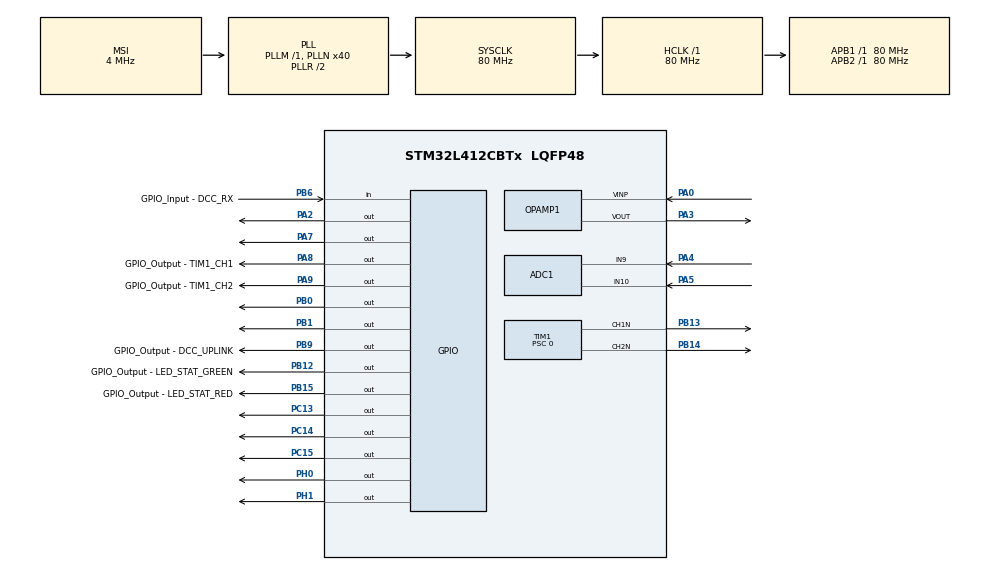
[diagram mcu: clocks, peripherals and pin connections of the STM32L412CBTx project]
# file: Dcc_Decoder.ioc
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ADC1.Channel-4\#ChannelRegularConversion=ADC_CHANNEL_9
ADC1.Channel-5\#ChannelRegularConversion=ADC_CHANNEL_10
ADC1.Channel-6\#ChannelRegularConversion=ADC_CHANNEL_TEMPSENSOR
ADC1.DMAContinuousRequests=DISABLE
ADC1.EOCSelection=ADC_EOC_SEQ_CONV
ADC1.EnableAnalogWatchDog1=false
ADC1.EnableInjectedConversion=DISABLE
ADC1.EnableRegularConversion=ENABLE
ADC1.ExternalTrigConv=ADC_EXTERNALTRIG_T1_CC3
ADC1.ExternalTrigConvEdge=ADC_EXTERNALTRIGCONVEDGE_FALLING
ADC1.NbrOfConversion=3
ADC1.NbrOfConversionFlag=1
ADC1.OffsetNumber-4\#ChannelRegularConversion=ADC_OFFSET_NONE
ADC1.OffsetNumber-5\#ChannelRegularConversion=ADC_OFFSET_NONE
ADC1.OffsetNumber-6\#ChannelRegularConversion=ADC_OFFSET_NONE
ADC1.Overrun=ADC_OVR_DATA_OVERWRITTEN
ADC1.OversamplingMode=DISABLE
ADC1.Rank-4\#ChannelRegularConversion=1
ADC1.Rank-5\#ChannelRegularConversion=2
ADC1.Rank-6\#ChannelRegularConversion=3
ADC1.SamplingTime-4\#ChannelRegularConversion=ADC_SAMPLETIME_24CYCLES_5
ADC1.SamplingTime-5\#ChannelRegularConversion=ADC_SAMPLETIME_24CYCLES_5
ADC1.SamplingTime-6\#ChannelRegularConversion=ADC_SAMPLETIME_24CYCLES_5
ADC1.master=1
Dma.ADC1.0.Direction=DMA_PERIPH_TO_MEMORY
Dma.ADC1.0.Instance=DMA2_Channel3
Dma.ADC1.0.MemDataAlignment=DMA_MDATAALIGN_HALFWORD
Dma.ADC1.0.MemInc=DMA_MINC_ENABLE
Dma.ADC1.0.Mode=DMA_CIRCULAR
Dma.ADC1.0.PeriphDataAlignment=DMA_PDATAALIGN_HALFWORD
Dma.ADC1.0.PeriphInc=DMA_PINC_DISABLE
Dma.ADC1.0.Priority=DMA_PRIORITY_HIGH
Dma.Request0=ADC1
Dma.Request1=TIM15_CH1/UP/TRIG/COM
Dma.TIM15_CH1/UP/TRIG/COM.1.Direction=DMA_PERIPH_TO_MEMORY
Dma.TIM15_CH1/UP/TRIG/COM.1.Instance=DMA1_Channel5
Dma.TIM15_CH1/UP/TRIG/COM.1.MemDataAlignment=DMA_MDATAALIGN_BYTE
Dma.TIM15_CH1/UP/TRIG/COM.1.MemInc=DMA_MINC_ENABLE
Dma.TIM15_CH1/UP/TRIG/COM.1.Mode=DMA_CIRCULAR
Dma.TIM15_CH1/UP/TRIG/COM.1.PeriphDataAlignment=DMA_PDATAALIGN_BYTE
Dma.TIM15_CH1/UP/TRIG/COM.1.PeriphInc=DMA_PINC_DISABLE
Dma.TIM15_CH1/UP/TRIG/COM.1.Priority=DMA_PRIORITY_LOW
Mcu.Family=STM32L4
Mcu.Name=STM32L412CBTx
Mcu.Package=LQFP48
NVIC.DMA1_Channel5_IRQn=true\:2\:0\:true\:false\:true\:false\:true\:true
NVIC.DMA2_Channel3_IRQn=true\:1\:0\:true\:false\:true\:false\:true\:true
NVIC.PriorityGroup=NVIC_PRIORITYGROUP_4
NVIC.TIM1_UP_TIM16_IRQn=true\:3\:0\:true\:false\:true\:true\:true\:true
OPAMP1.PgaGain=OPAMP_PGA_GAIN_4
OPAMP1.PowerSupplyRange=OPAMP_POWERSUPPLY_HIGH
OPAMP1.SelfCalibration=Enable
OPAMP1.UserTrimming=OPAMP_TRIMMING_USER
PA0.Mode=PGA Not Connected
PA0.Signal=OPAMP1_VINP
PA13\ (JTMS/SWDIO).Mode=JTAG_5_pins
PA13\ (JTMS/SWDIO).Signal=SYS_JTMS-SWDIO
PA14\ (JTCK/SWCLK).Mode=JTAG_5_pins
PA14\ (JTCK/SWCLK).Signal=SYS_JTCK-SWCLK
PA15\ (JTDI).Mode=JTAG_5_pins
PA15\ (JTDI).Signal=SYS_JTDI
PA2.Signal=GPIO_Output
PA3.Mode=PGA Not Connected
PA3.Signal=OPAMP1_VOUT
PA4.Signal=ADCx_IN9
PA5.Signal=ADCx_IN10
PA7.Signal=GPIO_Output
PA8.GPIO_Label=GPIO_Output - TIM1_CH1
PA8.Signal=GPIO_Output
PA9.GPIO_Label=GPIO_Output - TIM1_CH2
PA9.Signal=GPIO_Output
PB0.Signal=GPIO_Output
PB1.Signal=GPIO_Output
PB12.GPIO_Label=GPIO_Output - LED_STAT_GREEN
PB12.Signal=GPIO_Output
PB13.Mode=PWM Generation1 CH1N
PB13.Signal=TIM1_CH1N
PB14.Mode=PWM Generation2 CH2N
PB14.Signal=TIM1_CH2N
PB15.GPIO_Label=GPIO_Output - LED_STAT_RED
PB15.Signal=GPIO_Output
PB3\ (JTDO/TRACESWO).Mode=JTAG_5_pins
PB3\ (JTDO/TRACESWO).Signal=SYS_JTDO-SWO
PB4\ (NJTRST).Mode=JTAG_5_pins
PB4\ (NJTRST).Signal=SYS_JTRST
PB6.GPIO_Label=GPIO_Input - DCC_RX
PB6.GPIO_PuPd=GPIO_PULLUP
PB6.Signal=GPIO_Input
PB9.GPIO_Label=GPIO_Output - DCC_UPLINK
PB9.Signal=GPIO_Output
PC13.Signal=GPIO_Output
PC14-OSC32_IN\ (PC14).Signal=GPIO_Output
PC15-OSC32_OUT\ (PC15).Signal=GPIO_Output
PH0-OSC_IN\ (PH0).Signal=GPIO_Output
PH1-OSC_OUT\ (PH1).Signal=GPIO_Output
ProjectManager.HeapSize=0x200
ProjectManager.StackSize=0x400
ProjectManager.TargetToolchain=STM32CubeIDE
RCC.ADCFreq_Value=80000000
RCC.AHBFreq_Value=80000000
RCC.APB1Freq_Value=80000000
RCC.APB1TimFreq_Value=80000000
RCC.APB2Freq_Value=80000000
RCC.APB2TimFreq_Value=80000000
RCC.CortexFreq_Value=80000000
RCC.HCLKFreq_Value=80000000
RCC.HSE_VALUE=8000000
RCC.HSI48_VALUE=48000000
RCC.HSI_VALUE=16000000
RCC.LSE_VALUE=32768
RCC.MSI_VALUE=4000000
RCC.PLLN=40
RCC.SYSCLKFreq_VALUE=80000000
RCC.SYSCLKSource=RCC_SYSCLKSOURCE_PLLCLK
RCC.USBFreq_Value=4000000
RCC.VCOOutputFreq_Value=160000000
SH.ADCx_IN10.0=ADC1_IN10,IN10-Single-Ended
SH.ADCx_IN9.0=ADC1_IN9,IN9-Single-Ended
TIM1.AutoReloadPreload=TIM_AUTORELOAD_PRELOAD_ENABLE
TIM1.BreakState=TIM_BREAK_DISABLE
TIM1.Channel-PWM\ Generation1\ CH1N=TIM_CHANNEL_1
TIM1.Channel-PWM\ Generation2\ CH2N=TIM_CHANNEL_2
TIM1.Channel-PWM\ Generation3\ No\ Output=TIM_CHANNEL_3
TIM1.ClockDivision=TIM_CLOCKDIVISION_DIV2
TIM1.CounterMode=TIM_COUNTERMODE_CENTERALIGNED1
TIM1.Period=1000
TIM1.Prescaler=0
TIM1.TIM_MasterOutputTrigger=TIM_TRGO_RESET
TIM1.TIM_MasterOutputTrigger2=TIM_TRGO2_RESET
TIM1.TIM_MasterSlaveMode=TIM_MASTERSLAVEMODE_DISABLE
TIM15.AutoReloadPreload=TIM_AUTORELOAD_PRELOAD_ENABLE
TIM15.Period=100
TIM15.Prescaler=7
TIM15.TIM_MasterOutputTrigger=TIM_TRGO_OC1
TIM16.Period=7840
TIM16.Prescaler=79
TIM2.AutoReloadPreload=TIM_AUTORELOAD_PRELOAD_ENABLE
TIM2.Period=1000
TIM2.Prescaler=79
TIM2.TIM_MasterOutputTrigger=TIM_TRGO_RESET
VP_ADC1_OPAMP1_OUT.Mode=IN8-OPAMP1-Single-Ended
VP_ADC1_TempSens_Input.Mode=IN-TempSens
VP_RTC_VS_RTC_Activate.Mode=RTC_Enabled
VP_TIM15_VS_ClockSourceINT.Mode=Internal
VP_TIM16_VS_ClockSourceINT.Mode=Enable_Timer
VP_TIM1_VS_ClockSourceINT.Mode=Internal
VP_TIM1_VS_no_output3.Mode=PWM Generation3 No Output
VP_TIM2_VS_ClockSourceINT.Mode=Internal
board=custom

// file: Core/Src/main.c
/* USER CODE BEGIN Header */
/**
  ******************************************************************************
  * @file           : main.c
  * @brief          : Main program body
  ******************************************************************************
  * @attention
  *
  * Copyright (c) 2024 STMicroelectronics.
  * All rights reserved.
  *
  * This software is licensed under terms that can be found in the LICENSE file
  * in the root directory of this software component.
  * If no LICENSE file comes with this software, it is provided AS-IS.
  *
  ******************************************************************************
  */
/* USER CODE END Header */
#include "main.h"

/* USER CODE BEGIN Includes */
#include "motor.h"

#include <dcc_physical_layer.h>
#include <dcc_protocol_rx.h>
#include "dcc_signal.h"
#include "i_adc.h"
#include "i_dma.h"
#include "i_timer.h"
#include "m_memory.h"

extern struct MEM_CONFIG_STRUCT Mem;
/* USER CODE END Includes */

ADC_HandleTypeDef hadc1;
DMA_HandleTypeDef hdma_adc1;

OPAMP_HandleTypeDef hopamp1;

RTC_HandleTypeDef hrtc;

TIM_HandleTypeDef htim1;
TIM_HandleTypeDef htim2;
TIM_HandleTypeDef htim15;
TIM_HandleTypeDef htim16;
DMA_HandleTypeDef hdma_tim15_ch1_up_trig_com;

void SystemClock_Config(void);
static void MX_GPIO_Init(void);
static void MX_DMA_Init(void);
static void MX_TIM2_Init(void);
static void MX_TIM1_Init(void);
static void MX_ADC1_Init(void);
static void MX_TIM15_Init(void);
static void MX_OPAMP1_Init(void);
static void MX_RTC_Init(void);
static void MX_TIM16_Init(void);
/* USER CODE BEGIN PFP */

static void Disable_Bootloader_If_Enabled(void);

/* USER CODE END PFP */

int main(void)
{

  /* USER CODE BEGIN 1 */

	// TEST_PIN1 is enable at the beginning of the main.
	GPIO_CONFIG_OUTPUT(TEST_PIN1);
	GPIO_WRITE(TEST_PIN1, TRUE);

	Disable_Bootloader_If_Enabled();

  /* USER CODE END 1 */

  /* MCU Configuration--------------------------------------------------------*/

  /* Reset of all peripherals, Initializes the Flash interface and the Systick. */
  HAL_Init();

  /* Configure the system clock */
  SystemClock_Config();

  /* Initialize all configured peripherals */
  MX_GPIO_Init();
  MX_DMA_Init();
  MX_TIM2_Init();
  MX_TIM1_Init();
  MX_ADC1_Init();
  MX_TIM15_Init();
  MX_OPAMP1_Init();
  MX_RTC_Init();
  MX_TIM16_Init();
  /* USER CODE BEGIN 2 */

#if TEST_INRUSH_CURRENT_HIGH == 1
	GPIO_WRITE(PIN_CURRENT_EN, TRUE);
#endif

  // Get memory configuration
  mem_init();

  // GPIO re-init for HW backward compatibility (see version.h)
  gpio_reinit_for_hw_compatibility();

  if(mem_is_backup_valid() == TRUE)
  {
  	// ----- Backup register are valid -----
  	debug_set_led_status_red(LED_BOOT_EVENT, 200);
  	dcc_init(TRUE);
  	mot_init(TRUE);
  }
  else
  {
  	// ----- Backup register are invalid -----
  	debug_set_led_status_red(LED_BOOT_EVENT, 2000);
  	dcc_init(FALSE);
  	mot_init(FALSE);
  }

  signal_init();

  dma_init();
  adc_init();
  tim_init();

  /* USER CODE END 2 */

  /* Infinite loop */
  /* USER CODE BEGIN WHILE */

  while (1)
  {
  	// TEST_PIN1 is toggled each loop.
  	GPIO_TOGGLE(TEST_PIN1);

  	// Update debug Leds state (Green for DCC and red for errors)
  	debug_leds_update();

  	// Decode the transmitted bit into messages
		dcc_rx_update();

		// Update lights signal (Green, yellow, red)
		dcc_signal_update();

		// Decode and execute the received messages
		dcc_check_for_new_messages();

		// Update motor target speed (slope management) @200ms
		mot_speed_update();

		// Commit configuration one second after the last accepted memory update
		mem_update();

		// Enter sleep mode until next interrupt
		HAL_PWR_EnterSLEEPMode(PWR_MAINREGULATOR_ON, PWR_SLEEPENTRY_WFI);

    /* USER CODE END WHILE */

  }
}

void SystemClock_Config(void)
{
  RCC_OscInitTypeDef RCC_OscInitStruct = {0};
  RCC_ClkInitTypeDef RCC_ClkInitStruct = {0};

  /** Configure the main internal regulator output voltage
  */
  if (HAL_PWREx_ControlVoltageScaling(PWR_REGULATOR_VOLTAGE_SCALE1) != HAL_OK)
  {
    Error_Handler();
  }

  /** Initializes the RCC Oscillators according to the specified parameters
  * in the RCC_OscInitTypeDef structure.
  */
  RCC_OscInitStruct.OscillatorType = RCC_OSCILLATORTYPE_LSI|RCC_OSCILLATORTYPE_MSI;
  RCC_OscInitStruct.LSIState = RCC_LSI_ON;
  RCC_OscInitStruct.MSIState = RCC_MSI_ON;
  RCC_OscInitStruct.MSICalibrationValue = 0;
  RCC_OscInitStruct.MSIClockRange = RCC_MSIRANGE_6;
  RCC_OscInitStruct.PLL.PLLState = RCC_PLL_ON;
  RCC_OscInitStruct.PLL.PLLSource = RCC_PLLSOURCE_MSI;
  RCC_OscInitStruct.PLL.PLLM = 1;
  RCC_OscInitStruct.PLL.PLLN = 40;
  RCC_OscInitStruct.PLL.PLLQ = RCC_PLLQ_DIV2;
  RCC_OscInitStruct.PLL.PLLR = RCC_PLLR_DIV2;
  if (HAL_RCC_OscConfig(&RCC_OscInitStruct) != HAL_OK)
  {
    Error_Handler();
  }

  /** Initializes the CPU, AHB and APB buses clocks
  */
  RCC_ClkInitStruct.ClockType = RCC_CLOCKTYPE_HCLK|RCC_CLOCKTYPE_SYSCLK
                              |RCC_CLOCKTYPE_PCLK1|RCC_CLOCKTYPE_PCLK2;
  RCC_ClkInitStruct.SYSCLKSource = RCC_SYSCLKSOURCE_PLLCLK;
  RCC_ClkInitStruct.AHBCLKDivider = RCC_SYSCLK_DIV1;
  RCC_ClkInitStruct.APB1CLKDivider = RCC_HCLK_DIV1;
  RCC_ClkInitStruct.APB2CLKDivider = RCC_HCLK_DIV1;

  if (HAL_RCC_ClockConfig(&RCC_ClkInitStruct, FLASH_LATENCY_4) != HAL_OK)
  {
    Error_Handler();
  }
}

static void MX_ADC1_Init(void)
{

  ADC_MultiModeTypeDef multimode = {0};
  ADC_ChannelConfTypeDef sConfig = {0};

  /** Common config
  */
  hadc1.Instance = ADC1;
  hadc1.Init.ClockPrescaler = ADC_CLOCK_ASYNC_DIV1;
  hadc1.Init.Resolution = ADC_RESOLUTION_12B;
  hadc1.Init.DataAlign = ADC_DATAALIGN_RIGHT;
  hadc1.Init.ScanConvMode = ADC_SCAN_ENABLE;
  hadc1.Init.EOCSelection = ADC_EOC_SEQ_CONV;
  hadc1.Init.LowPowerAutoWait = DISABLE;
  hadc1.Init.ContinuousConvMode = DISABLE;
  hadc1.Init.NbrOfConversion = 3;
  hadc1.Init.DiscontinuousConvMode = DISABLE;
  hadc1.Init.ExternalTrigConv = ADC_EXTERNALTRIG_T1_CC3;
  hadc1.Init.ExternalTrigConvEdge = ADC_EXTERNALTRIGCONVEDGE_FALLING;
  hadc1.Init.DMAContinuousRequests = DISABLE;
  hadc1.Init.Overrun = ADC_OVR_DATA_OVERWRITTEN;
  hadc1.Init.OversamplingMode = DISABLE;
  if (HAL_ADC_Init(&hadc1) != HAL_OK)
  {
    Error_Handler();
  }

  /** Configure the ADC multi-mode
  */
  multimode.Mode = ADC_MODE_INDEPENDENT;
  if (HAL_ADCEx_MultiModeConfigChannel(&hadc1, &multimode) != HAL_OK)
  {
    Error_Handler();
  }

  /** Configure Regular Channel
  */
  sConfig.Channel = ADC_CHANNEL_9;
  sConfig.Rank = ADC_REGULAR_RANK_1;
  sConfig.SamplingTime = ADC_SAMPLETIME_24CYCLES_5;
  sConfig.SingleDiff = ADC_SINGLE_ENDED;
  sConfig.OffsetNumber = ADC_OFFSET_NONE;
  sConfig.Offset = 0;
  if (HAL_ADC_ConfigChannel(&hadc1, &sConfig) != HAL_OK)
  {
    Error_Handler();
  }

  /** Configure Regular Channel
  */
  sConfig.Channel = ADC_CHANNEL_10;
  sConfig.Rank = ADC_REGULAR_RANK_2;
  if (HAL_ADC_ConfigChannel(&hadc1, &sConfig) != HAL_OK)
  {
    Error_Handler();
  }

  /** Configure Regular Channel
  */
  sConfig.Channel = ADC_CHANNEL_TEMPSENSOR;
  sConfig.Rank = ADC_REGULAR_RANK_3;
  if (HAL_ADC_ConfigChannel(&hadc1, &sConfig) != HAL_OK)
  {
    Error_Handler();
  }

}

static void MX_OPAMP1_Init(void)
{

  hopamp1.Instance = OPAMP1;
  hopamp1.Init.PowerSupplyRange = OPAMP_POWERSUPPLY_HIGH;
  hopamp1.Init.Mode = OPAMP_PGA_MODE;
  hopamp1.Init.NonInvertingInput = OPAMP_NONINVERTINGINPUT_IO0;
  hopamp1.Init.InvertingInput = OPAMP_INVERTINGINPUT_CONNECT_NO;
  hopamp1.Init.PgaGain = OPAMP_PGA_GAIN_4;
  hopamp1.Init.PowerMode = OPAMP_POWERMODE_NORMALPOWER;
  hopamp1.Init.UserTrimming = OPAMP_TRIMMING_USER;
  if (HAL_OPAMP_Init(&hopamp1) != HAL_OK)
  {
    Error_Handler();
  }
  if (HAL_OPAMP_SelfCalibrate(&hopamp1) != HAL_OK)
  {
    Error_Handler();
  }

}

static void MX_RTC_Init(void)
{

  /** Initialize RTC Only
  */
  hrtc.Instance = RTC;
  hrtc.Init.HourFormat = RTC_HOURFORMAT_24;
  hrtc.Init.AsynchPrediv = 127;
  hrtc.Init.SynchPrediv = 255;
  hrtc.Init.OutPut = RTC_OUTPUT_DISABLE;
  hrtc.Init.OutPutRemap = RTC_OUTPUT_REMAP_NONE;
  hrtc.Init.OutPutPolarity = RTC_OUTPUT_POLARITY_HIGH;
  hrtc.Init.OutPutType = RTC_OUTPUT_TYPE_OPENDRAIN;
  hrtc.Init.OutPutPullUp = RTC_OUTPUT_PULLUP_NONE;
  if (HAL_RTC_Init(&hrtc) != HAL_OK)
  {
    Error_Handler();
  }

}

static void MX_TIM1_Init(void)
{

  TIM_ClockConfigTypeDef sClockSourceConfig = {0};
  TIM_MasterConfigTypeDef sMasterConfig = {0};
  TIM_OC_InitTypeDef sConfigOC = {0};
  TIM_BreakDeadTimeConfigTypeDef sBreakDeadTimeConfig = {0};

  htim1.Instance = TIM1;
  htim1.Init.Prescaler = 0;
  htim1.Init.CounterMode = TIM_COUNTERMODE_CENTERALIGNED1;
  htim1.Init.Period = 1000;
  htim1.Init.ClockDivision = TIM_CLOCKDIVISION_DIV2;
  htim1.Init.RepetitionCounter = 0;
  htim1.Init.AutoReloadPreload = TIM_AUTORELOAD_PRELOAD_ENABLE;
  if (HAL_TIM_Base_Init(&htim1) != HAL_OK)
  {
    Error_Handler();
  }
  sClockSourceConfig.ClockSource = TIM_CLOCKSOURCE_INTERNAL;
  if (HAL_TIM_ConfigClockSource(&htim1, &sClockSourceConfig) != HAL_OK)
  {
    Error_Handler();
  }
  if (HAL_TIM_PWM_Init(&htim1) != HAL_OK)
  {
    Error_Handler();
  }
  sMasterConfig.MasterOutputTrigger = TIM_TRGO_RESET;
  sMasterConfig.MasterOutputTrigger2 = TIM_TRGO2_RESET;
  sMasterConfig.MasterSlaveMode = TIM_MASTERSLAVEMODE_DISABLE;
  if (HAL_TIMEx_MasterConfigSynchronization(&htim1, &sMasterConfig) != HAL_OK)
  {
    Error_Handler();
  }
  sConfigOC.OCMode = TIM_OCMODE_PWM1;
  sConfigOC.Pulse = 0;
  sConfigOC.OCPolarity = TIM_OCPOLARITY_HIGH;
  sConfigOC.OCNPolarity = TIM_OCNPOLARITY_HIGH;
  sConfigOC.OCFastMode = TIM_OCFAST_DISABLE;
  sConfigOC.OCIdleState = TIM_OCIDLESTATE_RESET;
  sConfigOC.OCNIdleState = TIM_OCNIDLESTATE_RESET;
  if (HAL_TIM_PWM_ConfigChannel(&htim1, &sConfigOC, TIM_CHANNEL_1) != HAL_OK)
  {
    Error_Handler();
  }
  if (HAL_TIM_PWM_ConfigChannel(&htim1, &sConfigOC, TIM_CHANNEL_2) != HAL_OK)
  {
    Error_Handler();
  }
  if (HAL_TIM_PWM_ConfigChannel(&htim1, &sConfigOC, TIM_CHANNEL_3) != HAL_OK)
  {
    Error_Handler();
  }
  sBreakDeadTimeConfig.OffStateRunMode = TIM_OSSR_DISABLE;
  sBreakDeadTimeConfig.OffStateIDLEMode = TIM_OSSI_DISABLE;
  sBreakDeadTimeConfig.LockLevel = TIM_LOCKLEVEL_OFF;
  sBreakDeadTimeConfig.DeadTime = 0;
  sBreakDeadTimeConfig.BreakState = TIM_BREAK_DISABLE;
  sBreakDeadTimeConfig.BreakPolarity = TIM_BREAKPOLARITY_HIGH;
  sBreakDeadTimeConfig.BreakFilter = 0;
  sBreakDeadTimeConfig.Break2State = TIM_BREAK2_DISABLE;
  sBreakDeadTimeConfig.Break2Polarity = TIM_BREAK2POLARITY_HIGH;
  sBreakDeadTimeConfig.Break2Filter = 0;
  sBreakDeadTimeConfig.AutomaticOutput = TIM_AUTOMATICOUTPUT_DISABLE;
  if (HAL_TIMEx_ConfigBreakDeadTime(&htim1, &sBreakDeadTimeConfig) != HAL_OK)
  {
    Error_Handler();
  }
  HAL_TIM_MspPostInit(&htim1);

}

static void MX_TIM2_Init(void)
{

  TIM_ClockConfigTypeDef sClockSourceConfig = {0};
  TIM_MasterConfigTypeDef sMasterConfig = {0};

  htim2.Instance = TIM2;
  htim2.Init.Prescaler = 79;
  htim2.Init.CounterMode = TIM_COUNTERMODE_UP;
  htim2.Init.Period = 1000;
  htim2.Init.ClockDivision = TIM_CLOCKDIVISION_DIV1;
  htim2.Init.AutoReloadPreload = TIM_AUTORELOAD_PRELOAD_ENABLE;
  if (HAL_TIM_Base_Init(&htim2) != HAL_OK)
  {
    Error_Handler();
  }
  sClockSourceConfig.ClockSource = TIM_CLOCKSOURCE_INTERNAL;
  if (HAL_TIM_ConfigClockSource(&htim2, &sClockSourceConfig) != HAL_OK)
  {
    Error_Handler();
  }
  sMasterConfig.MasterOutputTrigger = TIM_TRGO_RESET;
  sMasterConfig.MasterSlaveMode = TIM_MASTERSLAVEMODE_DISABLE;
  if (HAL_TIMEx_MasterConfigSynchronization(&htim2, &sMasterConfig) != HAL_OK)
  {
    Error_Handler();
  }

}

static void MX_TIM15_Init(void)
{

  TIM_ClockConfigTypeDef sClockSourceConfig = {0};
  TIM_MasterConfigTypeDef sMasterConfig = {0};

  htim15.Instance = TIM15;
  htim15.Init.Prescaler = 7;
  htim15.Init.CounterMode = TIM_COUNTERMODE_UP;
  htim15.Init.Period = 100;
  htim15.Init.ClockDivision = TIM_CLOCKDIVISION_DIV1;
  htim15.Init.RepetitionCounter = 0;
  htim15.Init.AutoReloadPreload = TIM_AUTORELOAD_PRELOAD_ENABLE;
  if (HAL_TIM_Base_Init(&htim15) != HAL_OK)
  {
    Error_Handler();
  }
  sClockSourceConfig.ClockSource = TIM_CLOCKSOURCE_INTERNAL;
  if (HAL_TIM_ConfigClockSource(&htim15, &sClockSourceConfig) != HAL_OK)
  {
    Error_Handler();
  }
  sMasterConfig.MasterOutputTrigger = TIM_TRGO_OC1;
  sMasterConfig.MasterSlaveMode = TIM_MASTERSLAVEMODE_DISABLE;
  if (HAL_TIMEx_MasterConfigSynchronization(&htim15, &sMasterConfig) != HAL_OK)
  {
    Error_Handler();
  }

}

static void MX_TIM16_Init(void)
{

  htim16.Instance = TIM16;
  htim16.Init.Prescaler = 79;
  htim16.Init.CounterMode = TIM_COUNTERMODE_UP;
  htim16.Init.Period = 7840;
  htim16.Init.ClockDivision = TIM_CLOCKDIVISION_DIV1;
  htim16.Init.RepetitionCounter = 0;
  htim16.Init.AutoReloadPreload = TIM_AUTORELOAD_PRELOAD_DISABLE;
  if (HAL_TIM_Base_Init(&htim16) != HAL_OK)
  {
    Error_Handler();
  }

}

static void MX_DMA_Init(void)
{

  /* DMA controller clock enable */
  __HAL_RCC_DMA2_CLK_ENABLE();
  __HAL_RCC_DMA1_CLK_ENABLE();

  /* DMA interrupt init */
  /* DMA1_Channel5_IRQn interrupt configuration */
  HAL_NVIC_SetPriority(DMA1_Channel5_IRQn, 2, 0);
  HAL_NVIC_EnableIRQ(DMA1_Channel5_IRQn);
  /* DMA2_Channel3_IRQn interrupt configuration */
  HAL_NVIC_SetPriority(DMA2_Channel3_IRQn, 1, 0);
  HAL_NVIC_EnableIRQ(DMA2_Channel3_IRQn);

}

static void MX_GPIO_Init(void)
{
  GPIO_InitTypeDef GPIO_InitStruct = {0};

  /* GPIO Ports Clock Enable */
  __HAL_RCC_GPIOC_CLK_ENABLE();
  __HAL_RCC_GPIOH_CLK_ENABLE();
  __HAL_RCC_GPIOA_CLK_ENABLE();
  __HAL_RCC_GPIOB_CLK_ENABLE();

  /*Configure GPIO pin Output Level */
  HAL_GPIO_WritePin(GPIOC, GPIO_PIN_13|GPIO_PIN_14|GPIO_PIN_15, GPIO_PIN_RESET);

  /*Configure GPIO pin Output Level */
  HAL_GPIO_WritePin(GPIOH, GPIO_PIN_0|GPIO_PIN_1, GPIO_PIN_RESET);

  /*Configure GPIO pin Output Level */
  HAL_GPIO_WritePin(GPIOA, GPIO_PIN_2|GPIO_PIN_7|GPIO_Output___TIM1_CH1_Pin|GPIO_Output___TIM1_CH2_Pin, GPIO_PIN_RESET);

  /*Configure GPIO pin Output Level */
  HAL_GPIO_WritePin(GPIOB, GPIO_PIN_0|GPIO_PIN_1|GPIO_Output___LED_STAT_GREEN_Pin|GPIO_Output___LED_STAT_RED_Pin
                          |GPIO_Output___DCC_UPLINK_Pin, GPIO_PIN_RESET);

  /*Configure GPIO pins : PC13 PC14 PC15 */
  GPIO_InitStruct.Pin = GPIO_PIN_13|GPIO_PIN_14|GPIO_PIN_15;
  GPIO_InitStruct.Mode = GPIO_MODE_OUTPUT_PP;
  GPIO_InitStruct.Pull = GPIO_NOPULL;
  GPIO_InitStruct.Speed = GPIO_SPEED_FREQ_LOW;
  HAL_GPIO_Init(GPIOC, &GPIO_InitStruct);

  /*Configure GPIO pins : PH0 PH1 */
  GPIO_InitStruct.Pin = GPIO_PIN_0|GPIO_PIN_1;
  GPIO_InitStruct.Mode = GPIO_MODE_OUTPUT_PP;
  GPIO_InitStruct.Pull = GPIO_NOPULL;
  GPIO_InitStruct.Speed = GPIO_SPEED_FREQ_LOW;
  HAL_GPIO_Init(GPIOH, &GPIO_InitStruct);

  /*Configure GPIO pins : PA2 PA7 GPIO_Output___TIM1_CH1_Pin GPIO_Output___TIM1_CH2_Pin */
  GPIO_InitStruct.Pin = GPIO_PIN_2|GPIO_PIN_7|GPIO_Output___TIM1_CH1_Pin|GPIO_Output___TIM1_CH2_Pin;
  GPIO_InitStruct.Mode = GPIO_MODE_OUTPUT_PP;
  GPIO_InitStruct.Pull = GPIO_NOPULL;
  GPIO_InitStruct.Speed = GPIO_SPEED_FREQ_LOW;
  HAL_GPIO_Init(GPIOA, &GPIO_InitStruct);

  /*Configure GPIO pins : PB0 PB1 GPIO_Output___LED_STAT_GREEN_Pin GPIO_Output___LED_STAT_RED_Pin
                           GPIO_Output___DCC_UPLINK_Pin */
  GPIO_InitStruct.Pin = GPIO_PIN_0|GPIO_PIN_1|GPIO_Output___LED_STAT_GREEN_Pin|GPIO_Output___LED_STAT_RED_Pin
                          |GPIO_Output___DCC_UPLINK_Pin;
  GPIO_InitStruct.Mode = GPIO_MODE_OUTPUT_PP;
  GPIO_InitStruct.Pull = GPIO_NOPULL;
  GPIO_InitStruct.Speed = GPIO_SPEED_FREQ_LOW;
  HAL_GPIO_Init(GPIOB, &GPIO_InitStruct);

  /*Configure GPIO pin : GPIO_Input___DCC_RX_Pin */
  GPIO_InitStruct.Pin = GPIO_Input___DCC_RX_Pin;
  GPIO_InitStruct.Mode = GPIO_MODE_INPUT;
  GPIO_InitStruct.Pull = GPIO_PULLUP;
  HAL_GPIO_Init(GPIO_Input___DCC_RX_GPIO_Port, &GPIO_InitStruct);

}

/* USER CODE BEGIN 4 */

void Disable_Bootloader_If_Enabled(void)
{
    // Unlock memory access
    HAL_FLASH_Unlock();
    HAL_FLASH_OB_Unlock();

    FLASH_OBProgramInitTypeDef obConfig;
    HAL_FLASHEx_OBGetConfig(&obConfig);

    // Bit 27 nBOOT0: nBOOT0 option bit
    // 0: nBOOT0 = 0
    // 1: nBOOT0 = 1 (Main Flash memory is selected as boot area)

    // Bit 26 nSWBOOT0: Software BOOT0
    // 0: BOOT0 taken from the option bit nBOOT0
    // 1: BOOT0 taken from PH3/BOOT0 pin
    if(((obConfig.USERConfig & OB_BOOT0_FROM_PIN) != OB_BOOT0_FROM_OB) ||
    		((obConfig.USERConfig & OB_BOOT0_SET) != OB_BOOT0_SET))
    {
    	obConfig.OptionType = OPTIONBYTE_USER;
      obConfig.USERType = OB_USER_nSWBOOT0 | OB_USER_nBOOT0;
      obConfig.USERConfig = OB_BOOT0_FROM_OB | OB_BOOT0_SET;

      // Applique la nouvelle configuration
      if (HAL_FLASHEx_OBProgram(&obConfig) == HAL_OK)
      {
          HAL_FLASH_OB_Launch();
      }
    }

    // Lock memory access
    HAL_FLASH_OB_Lock();
    HAL_FLASH_Lock();
}

/* USER CODE END 4 */

void Error_Handler(void)
{
  __disable_irq();
  while (1)
  {
  }
}
